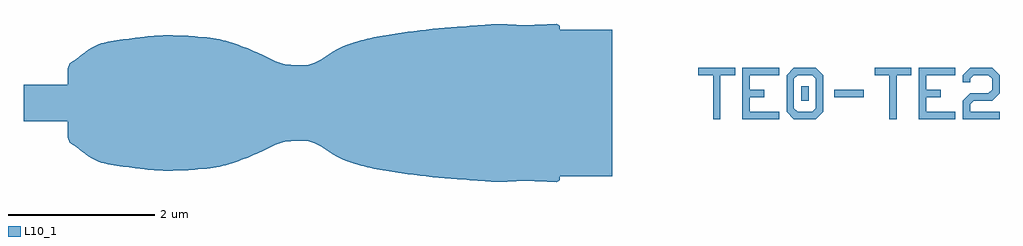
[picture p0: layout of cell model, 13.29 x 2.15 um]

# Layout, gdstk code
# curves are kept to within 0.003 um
import gdstk
lib = gdstk.Library(unit=1e-6, precision=1e-09)
def R(c, l, rs):  # rectangles x0, y0, x1, y1
    for r in rs: c.add(gdstk.rectangle(r[:2], r[2:], *l))
def P(c, l, *ps):  # polygons
    for p in ps: c.add(gdstk.Polygon(p, *l))
L10_1 = (10, 1)

text_2 = lib.new_cell('TEXT$2')
R(text_2, L10_1, [(1.4,0.25,1.5,0.45), (1.85,0.3,2.25,0.4)])
P(text_2, L10_1, [(0.2,0),(0.2,0.6),(0,0.6),(0,0.7),(0.5,0.7),(0.5,0.6),(0.3,0.6),(0.3,0)],
  [(0.6,0),(0.6,0.7),(1.1,0.7),(1.1,0.6),(0.7,0.6),(0.7,0.4),(0.9,0.4),(0.9,0.3),(0.7,0.3),(0.7,0.1),(1.1,0.1),(1.1,0)],
  [(1.3,0),(1.2,0.1),(1.2,0.6),(1.3,0.7),(1.6,0.7),(1.7,0.6),(1.35,0.6),(1.3,0.55),(1.3,0.15),(1.35,0.1),(1.55,0.1),(1.6,0.15),(1.6,0.55),(1.55,0.6),(1.7,0.6),(1.7,0.1),(1.6,0)],
  [(2.6,0),(2.6,0.6),(2.4,0.6),(2.4,0.7),(2.9,0.7),(2.9,0.6),(2.7,0.6),(2.7,0)],
  [(3,0),(3,0.7),(3.5,0.7),(3.5,0.6),(3.1,0.6),(3.1,0.4),(3.3,0.4),(3.3,0.3),(3.1,0.3),(3.1,0.1),(3.5,0.1),(3.5,0)],
  [(3.6,0),(3.6,0.25),(3.7,0.35),(3.95,0.35),(4,0.4),(4,0.55),(3.95,0.6),(3.75,0.6),(3.7,0.55),(3.7,0.5),(3.6,0.5),(3.6,0.6),(3.7,0.7),(4,0.7),(4.1,0.6),(4.1,0.35),(4,0.25),(3.75,0.25),(3.7,0.2),(3.7,0.1),(4.1,0.1),(4.1,0)])

model = lib.new_cell('model')
R(model, L10_1, [(3.35,-7.03,4.07,-5.03), (-3.95,-6.28,-3.35,-5.78)])
P(model, L10_1, [(3.309,-7.107),(2.928,-7.091),(2.465,-7.101),(1.958,-7.068),(1.578,-7.034),(1.24,-6.992),(0.86,-6.933),(0.733,-6.905),(0.521,-6.847),(0.392,-6.798),(0.263,-6.727),(0.054,-6.596),(0.013,-6.577),(0.013,-5.483),(0.054,-5.464),(0.137,-5.415),(0.306,-5.308),(0.435,-5.243),(0.521,-5.213),(0.69,-5.166),(0.945,-5.112),(1.283,-5.062),(1.663,-5.017),(2.337,-4.965),(2.55,-4.959),(2.928,-4.969),(3.309,-4.953),(3.35,-4.98),(3.35,-7.08)],
  [(-2.044,-6.95),(-2.172,-6.944),(-2.51,-6.907),(-2.806,-6.862),(-2.892,-6.841),(-2.98,-6.805),(-3.023,-6.781),(-3.323,-6.571),(-3.35,-6.493),(-3.35,-5.567),(-3.323,-5.489),(-3.023,-5.279),(-2.98,-5.255),(-2.892,-5.219),(-2.806,-5.198),(-2.51,-5.153),(-2.172,-5.116),(-2.044,-5.11),(-1.79,-5.112),(-1.621,-5.121),(-1.409,-5.142),(-1.238,-5.173),(-1.11,-5.211),(-0.899,-5.287),(-0.771,-5.342),(-0.519,-5.461),(-0.396,-5.499),(-0.273,-5.514),(-0.148,-5.517),(-0.067,-5.508),(0.013,-5.483),(0.013,-6.577),(-0.067,-6.552),(-0.148,-6.543),(-0.273,-6.546),(-0.396,-6.561),(-0.519,-6.599),(-0.771,-6.718),(-0.899,-6.773),(-1.11,-6.849),(-1.238,-6.887),(-1.409,-6.918),(-1.621,-6.939),(-1.79,-6.948)])
model.add(gdstk.Reference(text_2, (5.24,-6.25)))

lib.write_gds('model.gds')
